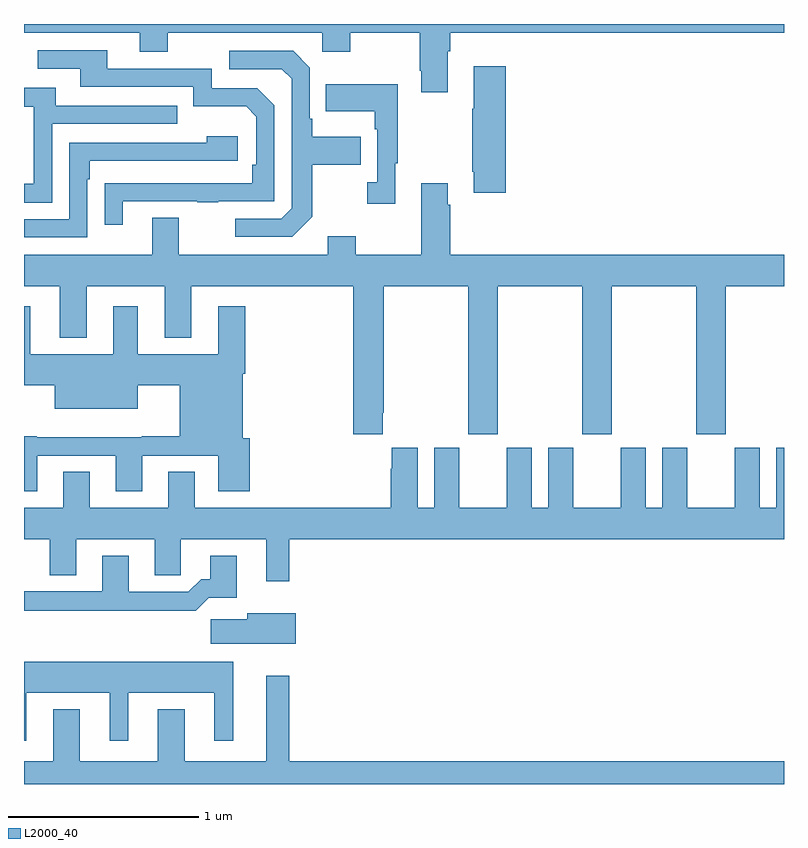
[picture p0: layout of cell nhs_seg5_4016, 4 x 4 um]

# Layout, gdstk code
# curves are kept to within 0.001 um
import gdstk
lib = gdstk.Library(unit=1e-6, precision=1e-09)
def P(c, l, *ps):  # polygons
    for p in ps: c.add(gdstk.Polygon(p, *l))
L2000_40 = (2000, 40)

nhs_seg5_4016 = lib.new_cell('nhs_seg5_4016')
P(nhs_seg5_4016, L2000_40, [(349.231,864.656),(349.244,864.656),(349.244,864.752),(351,864.752),(351,864.799),(347,864.799),(347,864.752),(347.609,864.752),(347.609,864.653),(347.757,864.653),(347.757,864.752),(348.57,864.752),(348.57,864.653),(348.717,864.653),(348.717,864.752),(349.084,864.752),(349.084,864.553),(349.091,864.553),(349.091,864.441),(349.231,864.441)],
  [(347.521,863.865),(347.911,863.865),(347.911,863.86),(348.023,863.86),(348.023,863.865),(348.318,863.865),(348.318,864.372),(348.228,864.462),(347.988,864.462),(347.988,864.564),(347.437,864.564),(347.437,864.66),(347.073,864.66),(347.073,864.564),(347.297,864.564),(347.297,864.468),(347.892,864.468),(347.892,864.365),(348.169,864.365),(348.222,864.312),(348.222,864.058),(348.202,864.058),(348.202,863.961),(347.425,863.96),(347.425,863.742),(347.521,863.742)],
  [(348.517,863.785),(348.517,864.058),(348.773,864.058),(348.773,864.205),(348.517,864.205),(348.517,864.301),(348.504,864.301),(348.504,864.57),(348.417,864.657),(348.081,864.657),(348.081,864.561),(348.357,864.561),(348.408,864.51),(348.408,863.829),(348.354,863.775),(348.111,863.775),(348.111,863.679),(348.411,863.679)],
  [(349.535,864.577),(349.367,864.577),(349.367,864.353),(349.36,864.353),(349.36,864.022),(349.367,864.022),(349.367,863.91),(349.535,863.91)],
  [(348.955,864.065),(348.967,864.065),(348.967,864.481),(348.589,864.481),(348.589,864.341),(348.846,864.341),(348.846,864.245),(348.858,864.245),(348.858,863.966),(348.807,863.966),(348.807,863.853),(348.955,863.853)],
  [(347.148,864.273),(347.807,864.273),(347.807,864.369),(347.167,864.369),(347.167,864.463),(347,864.463),(347,864.363),(347.052,864.363),(347.052,863.958),(347,863.958),(347,863.857),(347.148,863.857)],
  [(347.334,863.981),(347.347,863.981),(347.347,864.078),(348.124,864.078),(348.124,864.208),(347.963,864.208),(347.963,864.174),(347.238,864.174),(347.238,863.772),(347,863.772),(347,863.676),(347.334,863.676)],
  [(348.889,862.753),(348.894,862.753),(348.894,863.42),(349.339,863.42),(349.339,862.641),(349.494,862.641),(349.494,863.42),(349.939,863.42),(349.939,862.641),(350.094,862.641),(350.094,863.42),(350.539,863.42),(350.539,862.641),(350.694,862.641),(350.694,863.42),(351,863.42),(351,863.584),(349.244,863.584),(349.244,863.849),(349.231,863.849),(349.231,863.962),(349.091,863.962),(349.091,863.584),(348.747,863.584),(348.747,863.683),(348.599,863.683),(348.599,863.584),(347.815,863.584),(347.815,863.779),(347.675,863.779),(347.675,863.584),(347,863.584),(347,863.42),(347.189,863.42),(347.189,863.147),(347.329,863.147),(347.329,863.42),(347.741,863.42),(347.741,863.147),(347.881,863.147),(347.881,863.42),(348.734,863.42),(348.734,862.641),(348.889,862.641)],
  [(347.071,862.527),(347.483,862.527),(347.483,862.341),(347.623,862.341),(347.623,862.527),(348.023,862.527),(348.023,862.341),(348.188,862.341),(348.188,862.62),(348.151,862.62),(348.151,862.958),(348.164,862.958),(348.164,863.314),(348.023,863.314),(348.023,863.062),(347.599,863.062),(347.599,863.314),(347.471,863.314),(347.471,863.062),(347.032,863.062),(347.032,863.314),(347,863.314),(347,862.898),(347.162,862.898),(347.162,862.775),(347.599,862.775),(347.599,862.898),(347.819,862.898),(347.819,862.628),(347.619,862.628),(347.619,862.624),(347.067,862.624),(347.067,862.628),(347,862.628),(347,862.341),(347.071,862.341)],
  [(348.397,862.088),(351,862.088),(351,862.57),(350.96,862.57),(350.96,862.252),(350.872,862.252),(350.872,862.57),(350.741,862.57),(350.741,862.252),(350.491,862.252),(350.491,862.57),(350.36,862.57),(350.36,862.252),(350.272,862.252),(350.272,862.57),(350.141,862.57),(350.141,862.252),(349.891,862.252),(349.891,862.57),(349.76,862.57),(349.76,862.252),(349.672,862.252),(349.672,862.57),(349.541,862.57),(349.541,862.252),(349.291,862.252),(349.291,862.57),(349.16,862.57),(349.16,862.252),(349.072,862.252),(349.072,862.57),(348.935,862.57),(348.935,862.457),(348.929,862.457),(348.929,862.252),(347.899,862.252),(347.899,862.442),(347.759,862.442),(347.759,862.252),(347.347,862.252),(347.347,862.442),(347.207,862.442),(347.207,862.252),(347,862.252),(347,862.088),(347.135,862.088),(347.135,861.898),(347.275,861.898),(347.275,862.088),(347.687,862.088),(347.687,861.898),(347.826,861.898),(347.826,862.088),(348.275,862.088),(348.275,861.867),(348.397,861.867)],
  [(347.972,861.779),(348.121,861.779),(348.121,862),(347.981,862),(347.981,861.877),(347.932,861.877),(347.865,861.81),(347.551,861.81),(347.551,862),(347.411,862),(347.411,861.813),(347,861.813),(347,861.712),(347.647,861.712),(347.647,861.71),(347.903,861.71)],
  [(348.43,861.697),(348.176,861.697),(348.176,861.665),(347.982,861.665),(347.982,861.536),(348.43,861.536)],
  [(347.011,861.278),(347.45,861.278),(347.45,861.027),(347.548,861.027),(347.548,861.278),(348.002,861.278),(348.002,861.027),(348.1,861.027),(348.1,861.442),(347,861.442),(347,861.027),(347.011,861.027)],
  [(351,860.92),(348.397,860.92),(348.397,861.37),(348.275,861.37),(348.275,860.92),(347.845,860.92),(347.845,861.193),(347.705,861.193),(347.705,860.92),(347.293,860.92),(347.293,861.193),(347.153,861.193),(347.153,860.92),(347,860.92),(347,860.799),(351,860.799)])

lib.write_gds('nhs_seg5_4016.gds')
